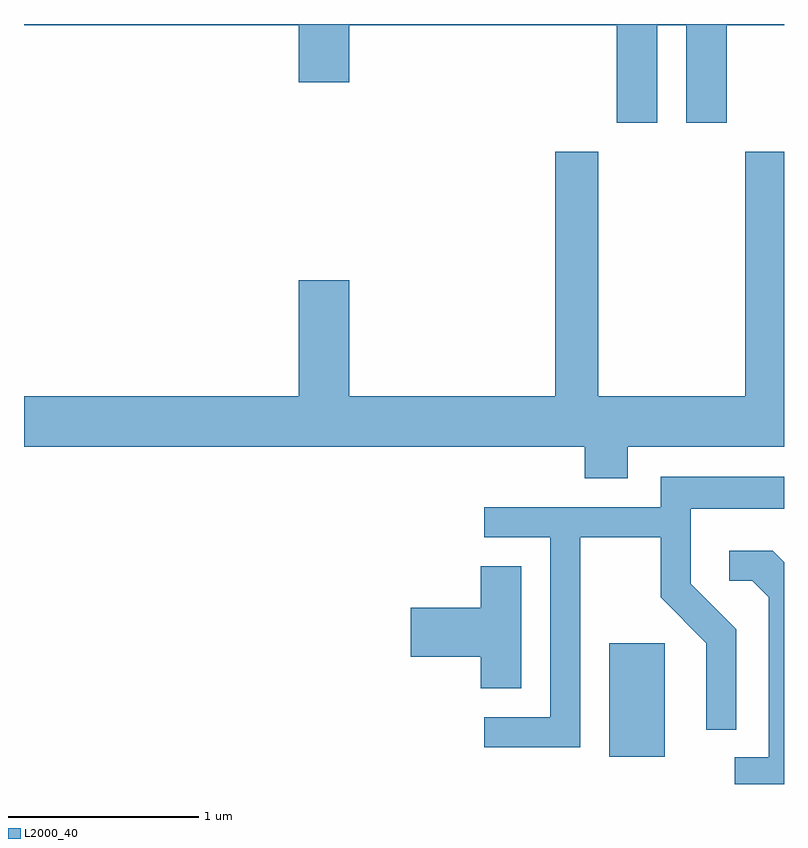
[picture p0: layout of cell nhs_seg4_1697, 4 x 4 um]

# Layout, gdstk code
import gdstk
lib = gdstk.Library(unit=1e-6, precision=1e-09)
def R(c, l, rs):  # rectangles x0, y0, x1, y1
    for r in rs: c.add(gdstk.rectangle(r[:2], r[2:], *l))
def P(c, l, *ps):  # polygons
    for p in ps: c.add(gdstk.Polygon(p, *l))
L2000_40 = (2000, 40)

nhs_seg4_1697 = lib.new_cell('nhs_seg4_1697')
R(nhs_seg4_1697, L2000_40, [(236.691,1384.126,236.984,1384.724)])
P(nhs_seg4_1697, L2000_40, [(236.944,1387.976),(237.096,1387.976),(237.096,1387.461),(237.309,1387.461),(237.309,1387.976),(237.611,1387.976),(237.611,1387.982),(233.611,1387.982),(233.611,1387.976),(235.056,1387.976),(235.056,1387.676),(235.324,1387.676),(235.324,1387.976),(236.731,1387.976),(236.731,1387.461),(236.944,1387.461)],
  [(236.789,1385.756),(237.611,1385.756),(237.611,1387.309),(237.406,1387.309),(237.406,1386.024),(236.634,1386.024),(236.634,1387.309),(236.406,1387.309),(236.406,1386.024),(235.324,1386.024),(235.324,1386.634),(235.056,1386.634),(235.056,1386.024),(233.611,1386.024),(233.611,1385.756),(236.561,1385.756),(236.561,1385.591),(236.789,1385.591)],
  [(236.539,1385.281),(236.961,1385.281),(236.961,1384.964),(237.201,1384.724),(237.201,1384.268),(237.359,1384.268),(237.359,1384.797),(237.119,1385.037),(237.119,1385.431),(237.611,1385.431),(237.611,1385.599),(236.961,1385.599),(236.961,1385.439),(236.033,1385.439),(236.033,1385.281),(236.381,1385.281),(236.381,1384.334),(236.033,1384.334),(236.033,1384.176),(236.539,1384.176)],
  [(237.611,1385.15),(237.552,1385.209),(237.323,1385.209),(237.323,1385.051),(237.444,1385.051),(237.531,1384.964),(237.531,1384.124),(237.353,1384.124),(237.353,1383.982),(237.611,1383.982)],
  [(236.229,1385.129),(236.016,1385.129),(236.016,1384.909),(235.646,1384.909),(235.646,1384.651),(236.016,1384.651),(236.016,1384.486),(236.229,1384.486)])

lib.write_gds('nhs_seg4_1697.gds')
